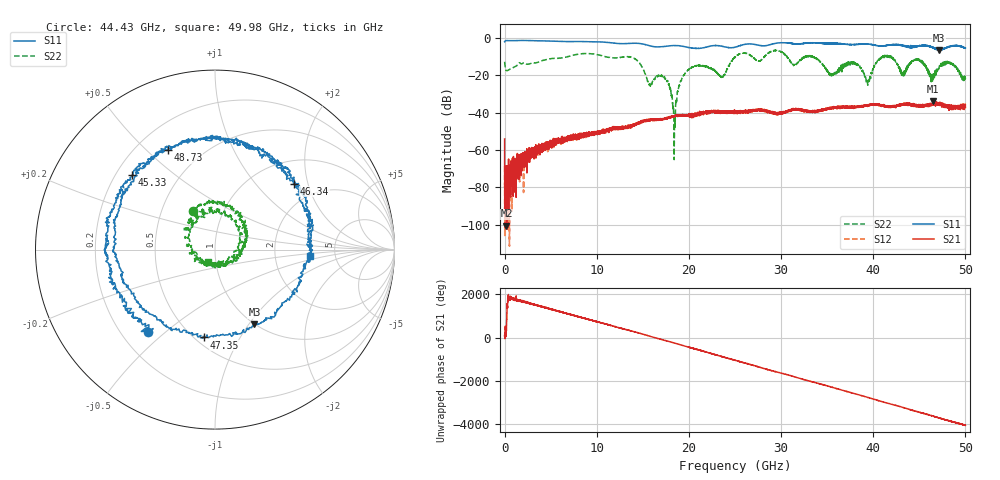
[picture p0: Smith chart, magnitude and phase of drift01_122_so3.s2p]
!Created with skrf (http://scikit-rf.org).
# Hz S RI R 50.0
!freq ReS11 ImS11 ReS21 ImS21 ReS12 ImS12 ReS22 ImS22
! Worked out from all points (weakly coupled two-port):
!   10001 points, 300 kHz to 50 GHz, reference 50 ohm
!   highest |S21| = -33.97 dB at 46.51 GHz (marker M1); lowest = -100.5 dB at 205.3 MHz (marker M2)
!   lowest |S11| = -6.5 dB at 47.11 GHz (marker M3), VSWR 2.78, Z = 49.7 - j53.2 ohm
!   |S11| at or under -10 dB: nowhere
!   |S22| runs from -65.2 to -6.7 dB; largest |S21 - S12| = 0.0039
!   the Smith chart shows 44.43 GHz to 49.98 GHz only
!   S11 on the Smith chart (normalised r, x): 44.43 GHz: 0.31, -0.44; 45.33 GHz: 0.27, +0.36; 46.34 GHz: 1.49, +1.64; 47.35 GHz: 0.55, -0.72; 48.73 GHz: 0.33, +0.58; 49.98 GHz: 3.21, -0.32
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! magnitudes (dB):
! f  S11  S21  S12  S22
! 300 kHz  -2.1  -54.1  -68.6  -12.8
! 205.3 MHz  -1.4  -100.5  -73.3  -17.5
! 8.335 GHz  -1.9  -52.3  -53.2  -8.5
! 16.67 GHz  -4.8  -43.6  -43.7  -20.0
! 17.74 GHz  -4.3  -43.0  -42.9  -24.2
! 18.45 GHz  -4.1  -41.8  -41.9  -46.8
! 19.95 GHz  -5.1  -41.5  -41.4  -17.1
! 23.63 GHz  -4.5  -39.8  -39.8  -20.7
! 25 GHz  -5.0  -40.0  -39.6  -10.3
! 33.34 GHz  -2.6  -39.3  -39.4  -9.9
! 39.44 GHz  -3.4  -36.2  -36.2  -24.2
! 41.67 GHz  -3.9  -36.6  -36.6  -9.7
! 43.21 GHz  -4.1  -35.5  -35.6  -19.7
! 44.43 GHz  -4.6  -36.3  -36.0  -12.0
! 45.33 GHz  -4.1  -35.6  -36.3  -13.5
! 46.34 GHz  -4.8  -35.6  -35.3  -21.1
! 46.51 GHz  -5.3  -34.0  -35.1  -21.9
! 47.11 GHz  -6.5  -35.5  -35.4  -16.7
! 47.35 GHz  -6.1  -35.5  -36.0  -14.0
! 48.73 GHz  -4.2  -37.4  -37.7  -14.8
! 49.98 GHz  -5.5  -36.0  -36.3  -21.8
! 50 GHz  -5.4  -37.2  -36.3  -22.0
